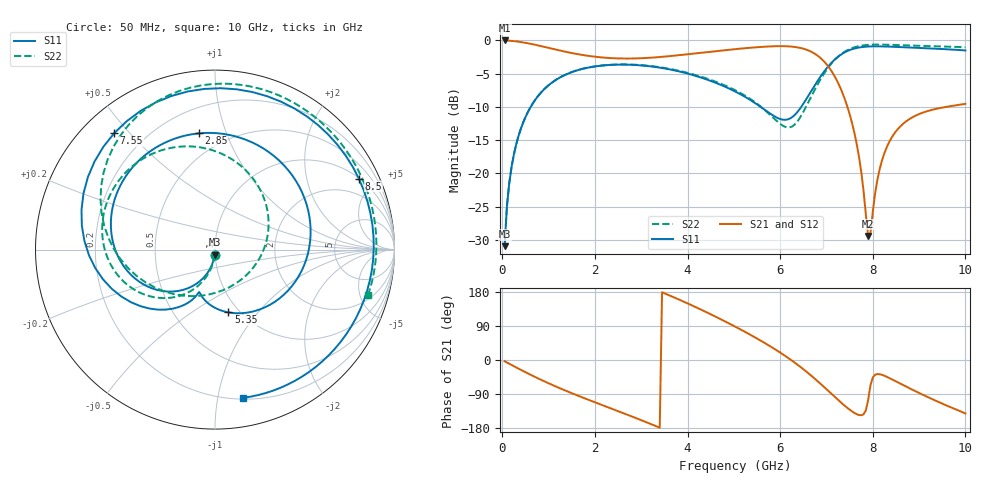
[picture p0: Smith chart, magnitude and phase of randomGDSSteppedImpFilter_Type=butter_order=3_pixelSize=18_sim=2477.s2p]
! freq	dB(S11)	phase(S11)	dB(S12)	phase(S12)
!  dB(S21)	phase(S21)	dB(S22)	phase(S22)
!S-par simulation data
#  GHz  S  DB  R 50
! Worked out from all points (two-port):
!   200 points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, 50 MHz to 10 GHz, reference 50 ohm
!   highest |S21| = -0.01 dB at 50 MHz (marker M1); lowest = -29.4 dB at 7.9 GHz (marker M2)
!   |S21| within 3 dB of the highest: start of sweep to 6.926 GHz
!   lowest |S11| = -30.9 dB at 50 MHz (marker M3), VSWR 1.06, Z = 49.7 - j2.82 ohm
!   |S11| at or under -10 dB: start of sweep to 613.6 MHz; 5.58 GHz to 6.455 GHz (875.5 MHz wide, 14.5 % of centre)
!   |S22| runs from -30.9 to -0.6 dB; largest |S21 - S12| = 0
!   S11 on the Smith chart (normalised r, x): 50 MHz: 0.99, -0.06; 2.85 GHz: 0.36, +0.80; 5.35 GHz: 0.89, -0.71; 7.55 GHz: 0.09, +0.45; 8.5 GHz: 1.02, +4.03; 10 GHz: 0.21, -1.18
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0.05  -30.94 -93.6  -0.01 -3.3  -0.01 -3.3  -30.93 -93.1
0.2  -19.03 -104.6  -0.08 -13.1  -0.08 -13.1  -19.02 -102.5
0.5  -11.54 -125.3  -0.36 -32.2  -0.36 -32.2  -11.53 -120.1
1.05  -6.46 -160.4  -1.21 -64.2  -1.21 -64.2  -6.45 -149.1
1.75  -4.25 159.5  -2.21 -99.8  -2.21 -99.8  -4.23 179.9
2.85  -3.69 98.0  -2.72 -151.5  -2.72 -151.5  -3.65 138.4
3.4  -4.09 64.1  -2.50 -178.7  -2.50 -178.7  -4.03 118.5
4.2  -5.38 8.4  -1.92 138.2  -1.92 138.2  -5.26 89.1
5.05  -7.75 -56.3  -1.30 86.8  -1.30 86.8  -7.56 53.3
5.35  -8.94 -78.1  -1.11 67.0  -1.11 67.0  -8.77 36.7
6.15  -11.90 -110.7  -0.88 7.4  -0.88 7.4  -13.08 -50.0
6.7  -7.29 -129.3  -1.81 -44.3  -1.81 -44.3  -8.04 -147.8
6.95  -4.67 -153.5  -3.18 -71.5  -3.18 -71.5  -4.98 179.6
7.2  -2.75 176.3  -5.69 -99.7  -5.69 -99.7  -2.77 150.7
7.55  -1.33 130.9  -12.36 -135.5  -12.36 -135.5  -1.16 115.6
7.75  -1.02 105.8  -19.72 -145.9  -19.72 -145.9  -0.79 98.5
7.9  -0.92 88.0  -29.42 -105.5  -29.42 -105.5  -0.67 87.1
8.15  -0.89 60.5  -19.32 -37.5  -19.32 -37.5  -0.62 70.4
8.35  -0.93 40.4  -15.34 -47.1  -15.34 -47.1  -0.65 58.6
8.5  -0.97 26.3  -13.68 -56.3  -13.68 -56.3  -0.69 50.5
9.1  -1.16 -22.3  -10.81 -92.9  -10.81 -92.9  -0.83 21.7
10  -1.51 -79.4  -9.54 -141.0  -9.54 -141.0  -1.02 -16.7
